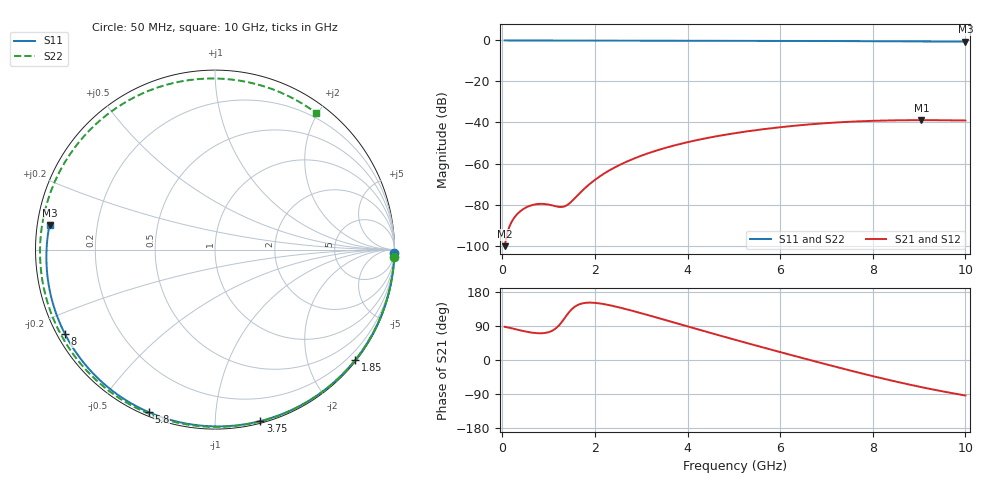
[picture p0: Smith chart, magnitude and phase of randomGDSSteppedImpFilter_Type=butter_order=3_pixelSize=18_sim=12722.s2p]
! freq	dB(S11)	phase(S11)	dB(S12)	phase(S12)
!  dB(S21)	phase(S21)	dB(S22)	phase(S22)
!S-par simulation data
#  GHz  S  DB  R 50
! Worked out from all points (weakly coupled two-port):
!   200 points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, 50 MHz to 10 GHz, reference 50 ohm
!   highest |S21| = -38.86 dB at 9.05 GHz (marker M1); lowest = -100.3 dB at 50 MHz (marker M2)
!   lowest |S11| = -0.6 dB at 10 GHz (marker M3), VSWR 28.49, Z = 1.76 + j3.72 ohm
!   |S11| at or under -10 dB: nowhere
!   |S22| runs from -0.5 to 0.0 dB; largest |S21 - S12| = 0
!   S11 on the Smith chart (normalised r, x): 50 MHz: open; 1.85 GHz: 0.03, -2.88; 3.75 GHz: 0.02, -1.30; 5.8 GHz: 0.02, -0.67; 8 GHz: 0.02, -0.26; 10 GHz: 0.04, +0.07
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0.05  -0.00 -1.1  -100.30 87.7  -100.30 87.7  -0.00 -2.2
0.35  -0.01 -7.4  -84.04 79.2  -84.04 79.2  -0.02 -15.4
0.65  -0.02 -13.6  -80.24 72.1  -80.24 72.1  -0.04 -28.4
1.05  -0.03 -21.9  -80.26 75.6  -80.26 75.6  -0.06 -45.2
1.4  -0.04 -29.1  -80.27 119.7  -80.27 119.7  -0.07 -59.4
1.5  -0.04 -31.2  -78.41 133.9  -78.41 133.9  -0.08 -63.3
1.75  -0.05 -36.2  -72.75 149.9  -72.75 149.9  -0.09 -72.9
1.85  -0.05 -38.3  -70.71 151.3  -70.71 151.3  -0.09 -76.6
2.15  -0.06 -44.3  -65.61 148.4  -65.61 148.4  -0.10 -87.5
2.5  -0.07 -51.2  -61.08 139.5  -61.08 139.5  -0.11 -99.6
2.9  -0.08 -59.0  -57.07 126.8  -57.07 126.8  -0.13 -112.7
3.4  -0.09 -68.6  -53.18 109.7  -53.18 109.7  -0.14 -128.1
3.75  -0.10 -75.2  -50.98 97.5  -50.98 97.5  -0.15 -138.3
4.4  -0.13 -87.2  -47.68 74.8  -47.68 74.8  -0.18 -156.4
5.05  -0.15 -99.0  -45.12 52.5  -45.12 52.5  -0.21 -173.6
5.8  -0.19 -112.2  -42.83 27.5  -42.83 27.5  -0.25 167.2
6.7  -0.25 -127.9  -40.81 -1.9  -40.81 -1.9  -0.30 144.1
7.4  -0.31 -140.1  -39.75 -24.2  -39.75 -24.2  -0.34 125.7
8  -0.36 -150.7  -39.19 -42.6  -39.19 -42.6  -0.37 109.5
8.35  -0.40 -157.0  -39.00 -52.7  -39.00 -52.7  -0.39 99.9
9.05  -0.48 -169.9  -38.86 -71.6  -38.86 -71.6  -0.44 80.3
10  -0.61 171.5  -39.02 -93.6  -39.02 -93.6  -0.47 53.5
